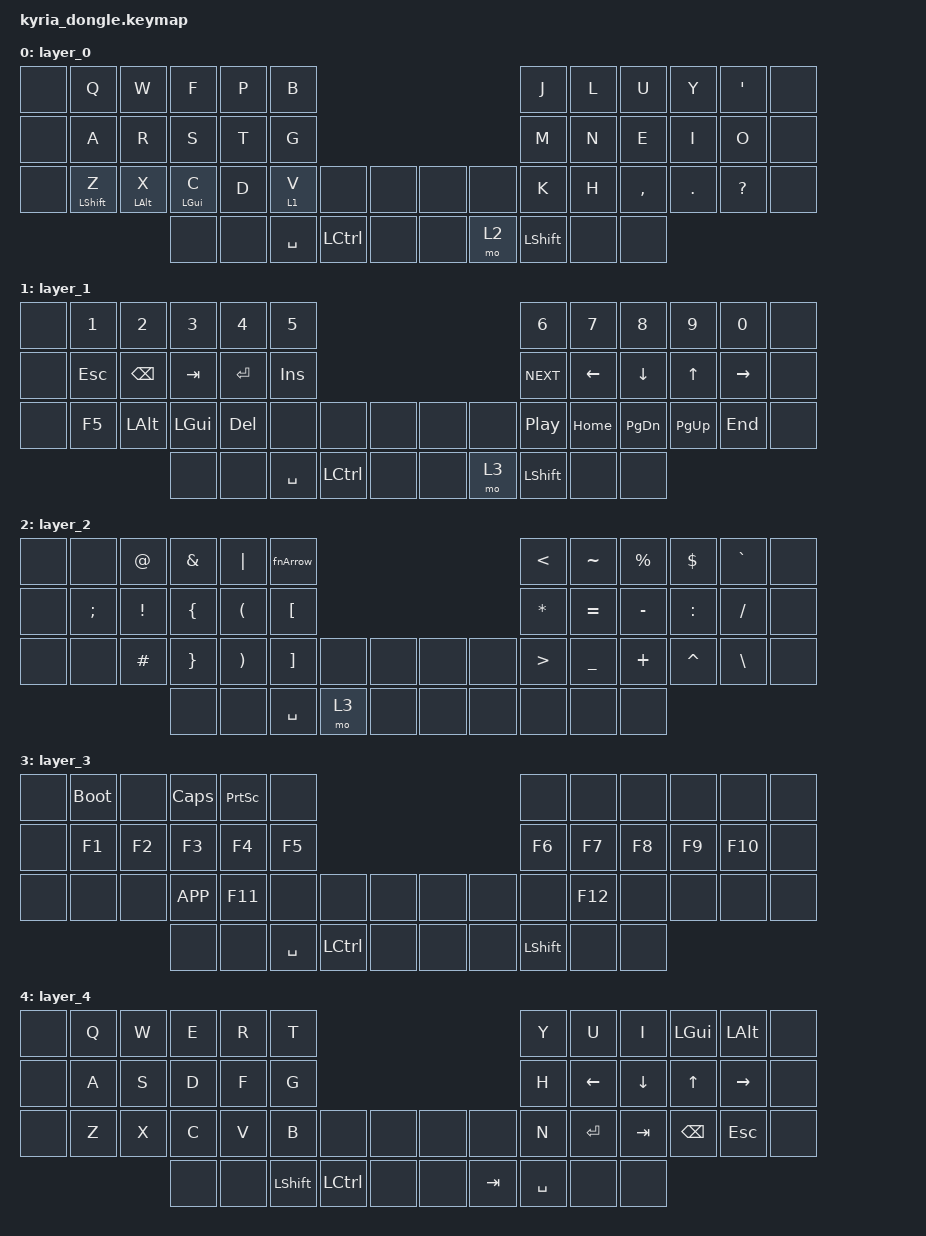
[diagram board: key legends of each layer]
/*
 * Copyright (c) 2020 The ZMK Contributors
 *
 * SPDX-License-Identifier: MIT
 */

#include <behaviors.dtsi>
#include <dt-bindings/zmk/keys.h>

#define SCA LS(LC(LALT))

&sk {
    quick-release;
};


/ {
    combos {
        compatible = "zmk,combos";
        combo_game {
            timeout-ms = <50>;
            key-positions = <6 7>;
            bindings = <&tog 4>;
        };
    };
};

/ {
    macros {
        fnArrow: fnArrow {
            label = "ZM_fnArrow";
            compatible = "zmk,behavior-macro";
            tap-ms = <20>;
            #binding-cells = <0>;
            bindings = <&kp KP_EQUAL &kp GREATER_THAN>;
        };
    };
};

/ {   
	    behaviors {
	        hm: homerow_mods {
	            compatible = "zmk,behavior-hold-tap";
	            label = "HOMEROW_MODS";
	            #binding-cells = <2>;
	            tapping-term-ms = <200>;
	            quick-tap-ms = <0>;
	            flavor = "tap-preferred";
	            bindings = <&kp>, <&kp>;
	        };
  		hml: homerow_mods_layer {
	            compatible = "zmk,behavior-hold-tap";
	            label = "HOMEROW_MODS_LAYER";
	            #binding-cells = <2>;
	            tapping-term-ms = <200>;
	            quick-tap-ms = <0>;
	            flavor = "tap-preferred";
	            bindings = <&mo>, <&kp>;
	        };
	    };
	keymap {
		compatible = "zmk,keymap";
		layer_0 {
			bindings = <
                &none   &kp Q           &kp W           &kp F           &kp P           &kp B                                                       &kp J           &kp L           &kp U           &kp Y           &kp APOS        &none
                &none   &kp A           &kp R           &kp S           &kp T           &kp G                                                       &kp M           &kp N           &kp E           &kp I           &kp O           &none
                &none   &hm LSHFT Z     &hm LALT X      &hm LGUI C      &kp D           &hml 1 V       &none       &none       &none       &none    &kp K           &kp H           &kp COMMA       &kp DOT         &kp QMARK       &none
                                                        &none           &none           &kp SPACE      &kp LCTRL   &none       &none       &mo 2    &kp LSHFT       &none           &none
			>;
		};   
        layer_1 {
			bindings = <
                &none   &kp N1          &kp N2          &kp N3          &kp N4          &kp N5                                                      &kp N6          &kp N7          &kp N8          &kp N9          &kp N0          &none 
		&none   &kp ESC         &kp BSPC        &kp TAB		&kp ENTER       &kp INS                                                     &kp C_NEXT      &kp LEFT        &kp DOWN        &kp UP          &kp RIGHT       &none 
                &none   &kp F5          &kp LALT        &kp LGUI        &kp DEL         &none       &none       &none       &none       &none       &kp C_PP        &kp HOME        &kp PG_DN       &kp PG_UP       &kp END         &none 
                                                        &none           &none           &kp SPACE   &kp LCTRL 	&none       &none       &mo 3       &kp LSHFT        &none           &none       
            >;
		};
        layer_2 {
			bindings = <
                &none   &none           &kp AT          &kp AMPS        &kp PIPE        &fnArrow                                                    &kp LT          &kp TILDE       &kp PRCNT       &kp DLLR        &kp GRAVE       &none 
                &none   &kp SEMI        &kp EXCL        &kp LBRC        &kp LPAR        &kp LBKT                                                    &kp ASTRK       &kp EQUAL       &kp MINUS       &kp COLON       &kp FSLH        &none 
                &none   &none           &kp HASH        &kp RBRC        &kp RPAR        &kp RBKT    &none       &none       &none       &none       &kp GT          &kp UNDER       &kp PLUS        &kp CARET       &kp BSLH        &none 
    	                                                &none           &none           &kp SPACE   &mo 3       &none       &none       &none       &none           &none           &none  
            >;
		};   
        layer_3 {
			bindings = <
                &none   &bootloader     &none           &kp CAPS        &kp PSCRN       &none                                                       &none           &none           &none           &none           &none           &none
                &none   &kp F1          &kp F2          &kp F3          &kp F4          &kp F5                                                      &kp F6          &kp F7          &kp F8          &kp F9          &kp F10         &none 
                &none   &none           &none           &kp K_APP       &kp F11         &none       &none       &none       &none       &none       &none           &kp F12         &none           &none           &none           &none
                                                        &none           &none           &kp SPACE   &kp LCTRL   &none       &none       &none       &kp LSHFT       &none           &none 
            >;
		};
        layer_4 {
			bindings = <
                &none   &kp Q           &kp W           &kp E           &kp R           &kp T                                                       &kp Y           &kp U           &kp I           &kp LGUI        &kp LALT        &none
                &none   &kp A           &kp S           &kp D           &kp F           &kp G                                                       &kp H           &kp LEFT        &kp DOWN        &kp UP          &kp RIGHT       &none 
                &none   &kp Z           &kp X           &kp C           &kp V           &kp B       &none       &none       &none       &none       &kp N           &kp ENTER       &kp TAB         &kp BSPC        &kp ESC         &none
                                                        &none           &none           &kp LSHFT   &kp LCTRL   &none       &none       &kp TAB     &kp SPACE       &none           &none 
            >;
		};
	};
};

//	            &none   &none           &none           &none           &none           &none                                                       &none           &none           &none           &none           &none           &none 
//	            &none   &none           &none           &none           &none           &none                                                       &none           &none           &none           &none           &none           &none 
//	            &none   &none           &none           &none           &none           &none       &none       &none       &none       &none       &none           &none           &none           &none           &none           &none 
//	                                                    &none           &none           &none       &none       &none       &none       &none       &none           &none           &none 


//	            0       1               2               3               4               5                                                           6               7               8               9               10              11
//              12      13              14              15              16              17                                                          18              19              20              21              22              23
//              24      25              26              27              28              29          30          31          32          33          34              35              36              37              38              39
//                                                      40              41              42          43          44          45          46          47              48              49
